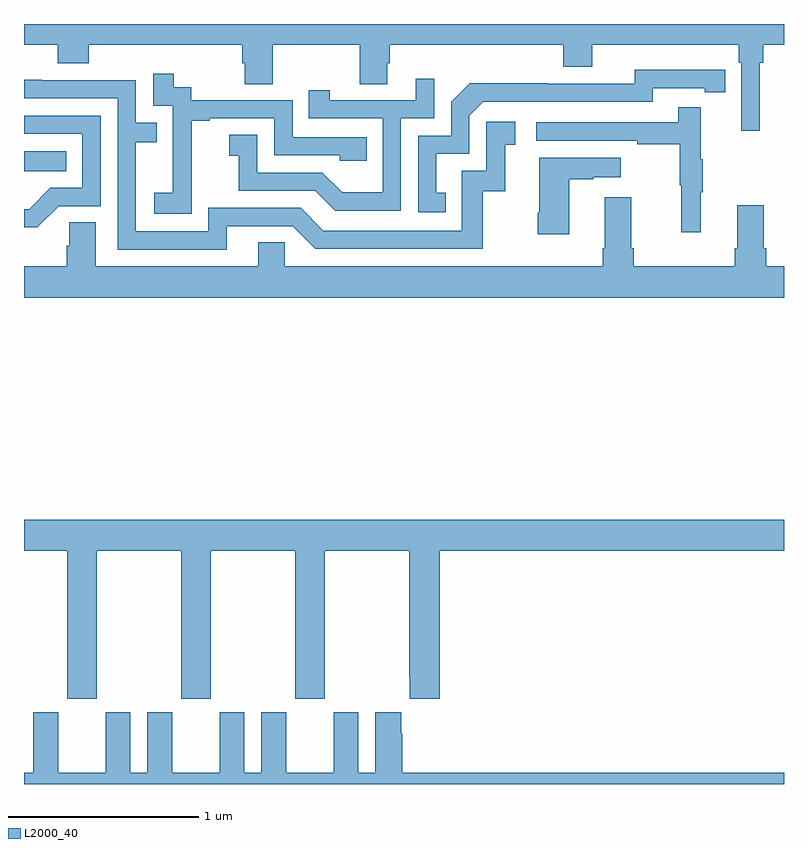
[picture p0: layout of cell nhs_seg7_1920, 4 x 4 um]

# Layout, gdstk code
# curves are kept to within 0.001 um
import gdstk
lib = gdstk.Library(unit=1e-6, precision=1e-09)
def R(c, l, rs):  # rectangles x0, y0, x1, y1
    for r in rs: c.add(gdstk.rectangle(r[:2], r[2:], *l))
def P(c, l, *ps):  # polygons
    for p in ps: c.add(gdstk.Polygon(p, *l))
L2000_40 = (2000, 40)

nhs_seg7_1920 = lib.new_cell('nhs_seg7_1920')
R(nhs_seg7_1920, L2000_40, [(239,1057.226,239.222,1057.33)])
P(nhs_seg7_1920, L2000_40, [(242.872,1057.796),(242.891,1057.796),(242.891,1057.892),(243,1057.892),(243,1058),(239,1058),(239,1057.892),(239.177,1057.892),(239.177,1057.793),(239.342,1057.793),(239.342,1057.892),(240.149,1057.892),(240.149,1057.794),(240.161,1057.794),(240.161,1057.684),(240.309,1057.684),(240.309,1057.892),(240.766,1057.892),(240.766,1057.684),(240.913,1057.684),(240.913,1057.794),(240.926,1057.794),(240.926,1057.892),(241.838,1057.892),(241.838,1057.775),(241.99,1057.775),(241.99,1057.892),(242.762,1057.892),(242.762,1057.796),(242.775,1057.796),(242.775,1057.437),(242.872,1057.437)],
  [(241.22,1057.113),(241.171,1057.113),(241.171,1057.317),(241.344,1057.317),(241.344,1057.518),(241.416,1057.59),(242.31,1057.59),(242.31,1057.662),(242.582,1057.662),(242.582,1057.642),(242.69,1057.642),(242.69,1057.758),(242.214,1057.759),(242.214,1057.686),(241.754,1057.686),(241.754,1057.688),(241.346,1057.688),(241.248,1057.59),(241.248,1057.413),(241.074,1057.413),(241.074,1057.008),(241.22,1057.008)],
  [(239.883,1057.207),(239.882,1057.207),(239.882,1057.491),(239.977,1057.491),(239.977,1057.503),(240.318,1057.503),(240.318,1057.308),(240.663,1057.308),(240.663,1057.281),(240.803,1057.281),(240.803,1057.404),(240.414,1057.404),(240.414,1057.599),(239.88,1057.599),(239.88,1057.668),(239.788,1057.668),(239.788,1057.738),(239.679,1057.738),(239.679,1057.569),(239.784,1057.569),(239.784,1057.34),(239.783,1057.34),(239.783,1057.111),(239.685,1057.111),(239.685,1057.001),(239.883,1057.001)],
  [(240.984,1057.503),(241.158,1057.503),(241.158,1057.711),(241.061,1057.711),(241.061,1057.599),(240.61,1057.599),(240.61,1057.651),(240.499,1057.651),(240.499,1057.503),(240.888,1057.503),(240.888,1057.114),(240.674,1057.114),(240.57,1057.218),(240.228,1057.218),(240.228,1057.417),(240.081,1057.417),(240.081,1057.307),(240.13,1057.307),(240.13,1057.122),(240.533,1057.122),(240.638,1057.017),(240.984,1057.017)],
  [(240.067,1056.936),(240.414,1056.936),(240.534,1056.816),(241.414,1056.816),(241.414,1057.119),(241.532,1057.119),(241.532,1057.365),(241.585,1057.365),(241.585,1057.486),(241.434,1057.486),(241.434,1057.227),(241.305,1057.227),(241.305,1056.912),(240.576,1056.912),(240.456,1057.032),(239.97,1057.032),(239.97,1056.909),(239.589,1056.909),(239.589,1057.378),(239.699,1057.378),(239.699,1057.479),(239.589,1057.479),(239.589,1057.704),(239.093,1057.704),(239.093,1057.706),(239,1057.706),(239,1057.608),(239.493,1057.608),(239.493,1056.813),(240.067,1056.813)],
  [(242.561,1057.115),(242.572,1057.115),(242.572,1057.289),(242.561,1057.289),(242.561,1057.561),(242.443,1057.561),(242.443,1057.482),(241.695,1057.482),(241.695,1057.386),(242.227,1057.386),(242.227,1057.366),(242.451,1057.366),(242.451,1057.152),(242.458,1057.152),(242.458,1056.903),(242.561,1056.903)],
  [(239.184,1057.041),(239.403,1057.041),(239.403,1057.518),(239,1057.518),(239,1057.422),(239.307,1057.422),(239.307,1057.137),(239.138,1057.137),(239.027,1057.026),(239,1057.026),(239,1056.929),(239.071,1056.929)],
  [(241.87,1057.183),(241.997,1057.183),(241.997,1057.193),(242.14,1057.193),(242.14,1057.297),(241.712,1057.297),(241.712,1057.006),(241.705,1057.006),(241.705,1056.894),(241.87,1056.894)],
  [(243,1056.724),(242.906,1056.724),(242.906,1056.82),(242.893,1056.82),(242.893,1057.045),(242.753,1057.045),(242.753,1056.82),(242.741,1056.82),(242.741,1056.724),(242.21,1056.724),(242.21,1056.82),(242.197,1056.82),(242.197,1057.087),(242.057,1057.087),(242.057,1056.82),(242.045,1056.82),(242.045,1056.724),(240.372,1056.724),(240.372,1056.851),(240.233,1056.851),(240.233,1056.724),(239.377,1056.724),(239.377,1056.956),(239.238,1056.956),(239.238,1056.833),(239.225,1056.833),(239.225,1056.724),(239,1056.724),(239,1056.56),(243,1056.56)],
  [(239.382,1055.228),(239.827,1055.228),(239.827,1054.449),(239.982,1054.449),(239.982,1055.228),(240.427,1055.228),(240.427,1054.449),(240.582,1054.449),(240.582,1055.228),(241.027,1055.228),(241.027,1054.561),(241.031,1054.561),(241.031,1054.449),(241.187,1054.449),(241.187,1055.228),(243,1055.228),(243,1055.392),(239,1055.392),(239,1055.228),(239.227,1055.228),(239.227,1054.449),(239.382,1054.449)],
  [(243,1054.06),(240.992,1054.06),(240.992,1054.265),(240.985,1054.265),(240.985,1054.378),(240.848,1054.378),(240.848,1054.06),(240.76,1054.06),(240.76,1054.378),(240.629,1054.378),(240.629,1054.06),(240.379,1054.06),(240.379,1054.378),(240.248,1054.378),(240.248,1054.06),(240.16,1054.06),(240.16,1054.378),(240.029,1054.378),(240.029,1054.06),(239.779,1054.06),(239.779,1054.378),(239.648,1054.378),(239.648,1054.06),(239.56,1054.06),(239.56,1054.378),(239.429,1054.378),(239.429,1054.06),(239.179,1054.06),(239.179,1054.378),(239.048,1054.378),(239.048,1054.06),(239,1054.06),(239,1054),(243,1054)])

lib.write_gds('nhs_seg7_1920.gds')
